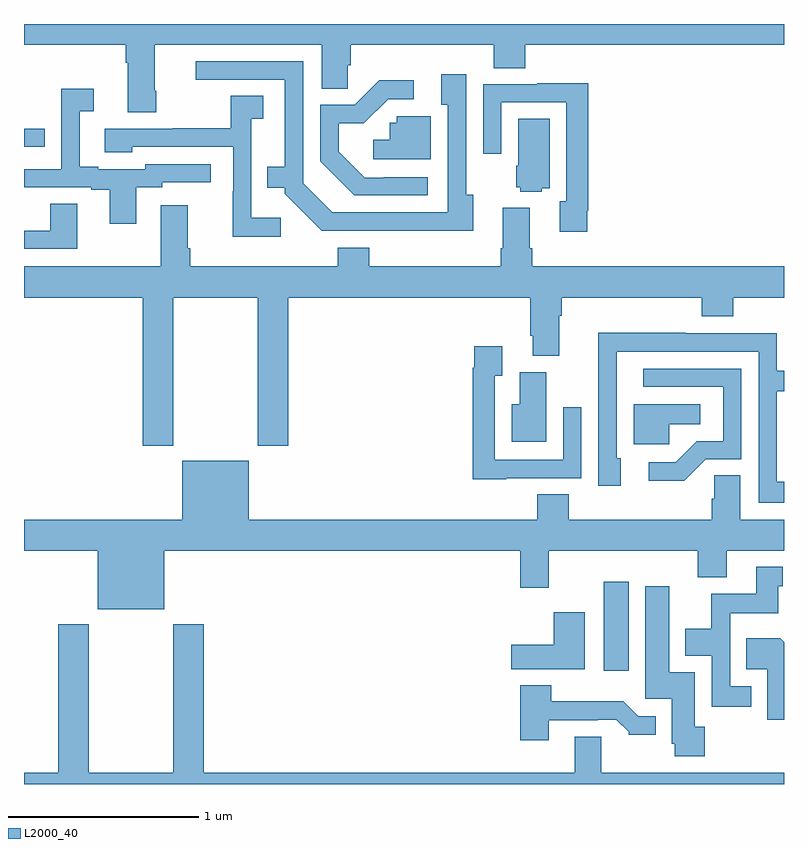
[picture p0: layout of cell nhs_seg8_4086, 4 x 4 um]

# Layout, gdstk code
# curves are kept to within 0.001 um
import gdstk
lib = gdstk.Library(unit=1e-6, precision=1e-09)
def R(c, l, rs):  # rectangles x0, y0, x1, y1
    for r in rs: c.add(gdstk.rectangle(r[:2], r[2:], *l))
def P(c, l, *ps):  # polygons
    for p in ps: c.add(gdstk.Polygon(p, *l))
L2000_40 = (2000, 40)

nhs_seg8_4086 = lib.new_cell('nhs_seg8_4086')
R(nhs_seg8_4086, L2000_40, [(364.052,1154.496,364.183,1154.965), (361,1157.254,361.108,1157.349)])
P(nhs_seg8_4086, L2000_40, [(361.695,1157.548),(361.687,1157.548),(361.687,1157.792),(362.567,1157.792),(362.567,1157.56),(362.705,1157.56),(362.705,1157.682),(362.72,1157.682),(362.72,1157.792),(363.473,1157.792),(363.473,1157.668),(363.638,1157.668),(363.638,1157.792),(365,1157.792),(365,1157.9),(361,1157.9),(361,1157.792),(361.535,1157.792),(361.535,1157.696),(361.547,1157.696),(361.547,1157.436),(361.695,1157.436)],
  [(363.364,1157.002),(363.327,1157.002),(363.327,1157.635),(363.197,1157.635),(363.197,1157.474),(363.231,1157.474),(363.231,1156.908),(362.622,1156.908),(362.469,1157.061),(362.469,1157.703),(361.905,1157.703),(361.905,1157.607),(362.372,1157.607),(362.372,1157.149),(362.281,1157.149),(362.281,1157.039),(362.373,1157.039),(362.373,1157.007),(362.568,1156.812),(363.364,1156.811)],
  [(363.124,1157.094),(362.893,1157.094),(362.893,1157.091),(362.793,1157.091),(362.656,1157.228),(362.656,1157.378),(362.789,1157.378),(362.916,1157.505),(363.052,1157.505),(363.052,1157.603),(362.87,1157.603),(362.742,1157.475),(362.559,1157.475),(362.559,1157.177),(362.738,1156.998),(363.124,1156.998)],
  [(363.964,1156.918),(363.971,1156.918),(363.971,1157.587),(363.701,1157.587),(363.701,1157.583),(363.417,1157.583),(363.417,1157.217),(363.513,1157.217),(363.513,1157.487),(363.855,1157.487),(363.855,1156.967),(363.821,1156.967),(363.821,1156.806),(363.964,1156.806)],
  [(361.591,1157.04),(361.728,1157.04),(361.728,1157.067),(361.984,1157.067),(361.984,1157.163),(361.638,1157.163),(361.638,1157.136),(361.39,1157.136),(361.39,1157.149),(361.294,1157.149),(361.294,1157.44),(361.366,1157.44),(361.366,1157.56),(361.197,1157.56),(361.197,1157.136),(361,1157.136),(361,1157.04),(361.355,1157.04),(361.355,1157.028),(361.451,1157.028),(361.451,1156.848),(361.591,1156.848)],
  [(362.35,1156.879),(362.196,1156.879),(362.196,1157.401),(362.26,1157.401),(362.26,1157.522),(362.088,1157.522),(362.088,1157.352),(361.783,1157.352),(361.783,1157.349),(361.425,1157.349),(361.425,1157.225),(361.569,1157.225),(361.569,1157.253),(362.1,1157.253),(362.1,1157.021),(362.098,1157.021),(362.098,1156.781),(362.35,1156.781)],
  [(363.142,1157.415),(362.961,1157.415),(362.961,1157.379),(362.925,1157.379),(362.925,1157.29),(362.838,1157.29),(362.838,1157.187),(363.142,1157.187)],
  [(363.726,1157.036),(363.766,1157.036),(363.766,1157.402),(363.602,1157.402),(363.602,1157.154),(363.59,1157.154),(363.59,1157.04),(363.612,1157.04),(363.612,1157.018),(363.726,1157.018)],
  [(361.279,1156.955),(361.139,1156.955),(361.139,1156.812),(361,1156.812),(361,1156.716),(361.279,1156.716)],
  [(361.785,1156.46),(362.23,1156.46),(362.23,1155.681),(362.39,1155.681),(362.39,1156.46),(363.665,1156.46),(363.665,1156.258),(363.677,1156.258),(363.677,1156.153),(363.817,1156.153),(363.817,1156.364),(363.83,1156.364),(363.83,1156.46),(364.568,1156.46),(364.568,1156.361),(364.733,1156.361),(364.733,1156.46),(365,1156.46),(365,1156.624),(363.674,1156.624),(363.674,1156.72),(363.661,1156.72),(363.661,1156.933),(363.521,1156.933),(363.521,1156.72),(363.509,1156.72),(363.509,1156.624),(362.816,1156.624),(362.816,1156.723),(362.651,1156.723),(362.651,1156.624),(361.874,1156.624),(361.874,1156.72),(361.861,1156.72),(361.861,1156.945),(361.721,1156.945),(361.721,1156.624),(361,1156.624),(361,1156.46),(361.625,1156.46),(361.625,1155.681),(361.785,1155.681)],
  [(365,1155.492),(364.963,1155.492),(364.963,1155.966),(365,1155.966),(365,1156.074),(364.962,1156.074),(364.962,1156.272),(364.484,1156.272),(364.484,1156.274),(364.022,1156.274),(364.022,1155.97),(364.023,1155.97),(364.023,1155.471),(364.141,1155.471),(364.141,1155.615),(364.119,1155.615),(364.119,1156.176),(364.866,1156.176),(364.866,1155.381),(365,1155.381)],
  [(363.537,1155.51),(363.933,1155.51),(363.933,1155.883),(363.837,1155.883),(363.837,1155.606),(363.477,1155.606),(363.477,1156.048),(363.517,1156.048),(363.517,1156.204),(363.369,1156.204),(363.369,1156.091),(363.361,1156.091),(363.361,1155.503),(363.537,1155.503)],
  [(364.587,1155.609),(364.776,1155.609),(364.776,1156.086),(364.26,1156.086),(364.26,1155.99),(364.68,1155.99),(364.68,1155.705),(364.542,1155.705),(364.431,1155.594),(364.287,1155.594),(364.287,1155.497),(364.474,1155.497)],
  [(363.748,1156.068),(363.608,1156.068),(363.608,1155.898),(363.566,1155.898),(363.566,1155.701),(363.748,1155.701)],
  [(364.395,1155.794),(364.558,1155.794),(364.558,1155.898),(364.208,1155.898),(364.208,1155.687),(364.395,1155.687)],
  [(361.738,1155.128),(363.611,1155.128),(363.611,1154.934),(363.763,1154.934),(363.763,1155.128),(364.547,1155.128),(364.547,1154.987),(364.699,1154.987),(364.699,1155.128),(365,1155.128),(365,1155.292),(364.771,1155.292),(364.771,1155.524),(364.632,1155.524),(364.632,1155.401),(364.619,1155.401),(364.619,1155.292),(363.866,1155.292),(363.866,1155.425),(363.701,1155.425),(363.701,1155.292),(362.182,1155.292),(362.182,1155.601),(361.832,1155.601),(361.832,1155.292),(361,1155.292),(361,1155.128),(361.388,1155.128),(361.388,1154.819),(361.738,1154.819)],
  [(364.828,1154.415),(364.716,1154.415),(364.716,1154.798),(364.969,1154.798),(364.969,1154.94),(364.993,1154.94),(364.993,1155.043),(364.853,1155.043),(364.853,1154.902),(364.618,1154.902),(364.618,1154.716),(364.481,1154.716),(364.481,1154.576),(364.62,1154.576),(364.62,1154.307),(364.828,1154.307)],
  [(364.583,1154.202),(364.531,1154.202),(364.531,1154.488),(364.396,1154.488),(364.396,1154.941),(364.271,1154.941),(364.271,1154.349),(364.409,1154.349),(364.409,1154.112),(364.426,1154.112),(364.426,1154.046),(364.583,1154.046)],
  [(363.952,1154.803),(363.788,1154.803),(363.788,1154.634),(363.564,1154.634),(363.564,1154.504),(363.952,1154.504)],
  [(365,1153.96),(364.039,1153.96),(364.039,1154.15),(363.899,1154.15),(363.899,1153.96),(361.946,1153.96),(361.946,1154.74),(361.786,1154.74),(361.786,1153.96),(361.341,1153.96),(361.341,1154.74),(361.181,1154.74),(361.181,1153.96),(361,1153.96),(361,1153.9),(365,1153.9)],
  [(365,1154.647),(364.979,1154.668),(364.801,1154.668),(364.801,1154.504),(364.913,1154.504),(364.913,1154.238),(365,1154.238)],
  [(363.763,1154.235),(364.019,1154.235),(364.019,1154.238),(364.118,1154.238),(364.182,1154.174),(364.182,1154.159),(364.324,1154.159),(364.324,1154.256),(364.233,1154.256),(364.155,1154.335),(363.776,1154.335),(363.776,1154.419),(363.611,1154.419),(363.611,1154.13),(363.763,1154.13)])

lib.write_gds('nhs_seg8_4086.gds')
